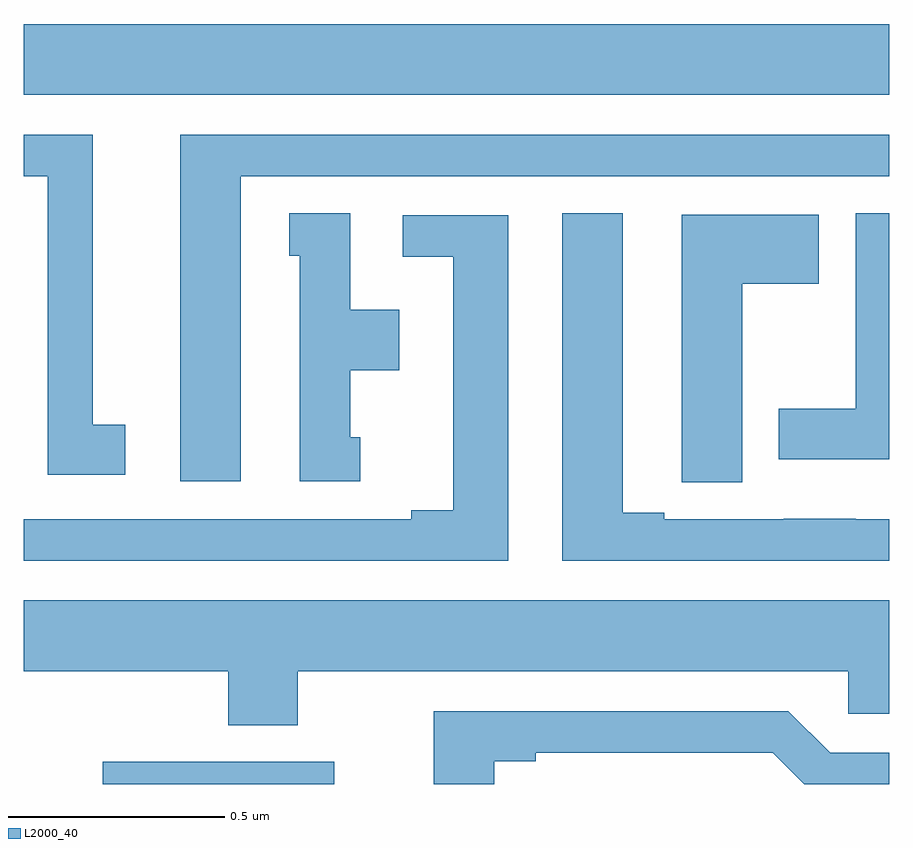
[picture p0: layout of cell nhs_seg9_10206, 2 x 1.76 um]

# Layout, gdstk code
import gdstk
lib = gdstk.Library(unit=1e-6, precision=1e-09)
def R(c, l, rs):  # rectangles x0, y0, x1, y1
    for r in rs: c.add(gdstk.rectangle(r[:2], r[2:], *l))
def P(c, l, *ps):  # polygons
    for p in ps: c.add(gdstk.Polygon(p, *l))
L2000_40 = (2000, 40)

nhs_seg9_10206 = lib.new_cell('nhs_seg9_10206')
R(nhs_seg9_10206, L2000_40, [(240.183,1189.5,240.717,1189.551), (240,1191.092,242,1191.256)])
P(nhs_seg9_10206, L2000_40, [(240.502,1190.904),(242,1190.904),(242,1191),(240.362,1191),(240.362,1190.199),(240.502,1190.199)],
  [(240.235,1190.33),(240.16,1190.33),(240.16,1191),(240,1191),(240,1190.904),(240.056,1190.904),(240.056,1190.214),(240.235,1190.214)],
  [(240.778,1190.301),(240.754,1190.301),(240.754,1190.456),(240.868,1190.456),(240.868,1190.596),(240.754,1190.596),(240.754,1190.819),(240.614,1190.819),(240.614,1190.721),(240.638,1190.721),(240.638,1190.199),(240.778,1190.199)],
  [(242,1190.112),(241.922,1190.112),(241.922,1190.113),(241.756,1190.113),(241.756,1190.112),(241.48,1190.112),(241.48,1190.127),(241.384,1190.127),(241.384,1190.819),(241.244,1190.819),(241.244,1190.016),(242,1190.016)],
  [(242,1190.819),(241.922,1190.819),(241.922,1190.367),(241.745,1190.367),(241.745,1190.25),(242,1190.25)],
  [(241.66,1190.656),(241.837,1190.656),(241.837,1190.815),(241.52,1190.815),(241.52,1190.305),(241.521,1190.305),(241.521,1190.197),(241.66,1190.197)],
  [(241.12,1190.814),(240.876,1190.814),(240.876,1190.718),(240.992,1190.718),(240.992,1190.132),(240.896,1190.132),(240.896,1190.112),(240,1190.112),(240,1190.016),(241.12,1190.016)],
  [(240.633,1189.76),(241.905,1189.76),(241.905,1189.662),(242,1189.662),(242,1189.924),(240,1189.924),(240,1189.76),(240.473,1189.76),(240.473,1189.636),(240.633,1189.636)],
  [(241.087,1189.552),(241.183,1189.552),(241.183,1189.572),(241.731,1189.572),(241.803,1189.5),(242,1189.5),(242,1189.572),(241.863,1189.572),(241.767,1189.668),(240.947,1189.668),(240.947,1189.5),(241.087,1189.5)])

lib.write_gds('nhs_seg9_10206.gds')
